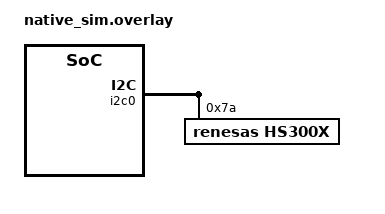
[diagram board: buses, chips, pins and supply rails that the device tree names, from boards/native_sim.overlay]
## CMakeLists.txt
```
# SPDX-License-Identifier: Apache-2.0

cmake_minimum_required(VERSION 3.20.0)

find_package(Zephyr REQUIRED HINTS $ENV{ZEPHYR_BASE})
project(weather_station)

FILE(GLOB app_sources src/*.c)
target_sources(app PRIVATE ${app_sources})
```

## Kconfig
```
# Copyright (c) 2026
# SPDX-License-Identifier: Apache-2.0

mainmenu "Advanced Weather Station"

config SAMPLE_WEATHER_SENSOR_PERIOD_MS
	int "Sensor poll period (ms)"
	default 2000
	range 200 60000
	help
	  Sensor polling period in milliseconds.

config SAMPLE_WEATHER_UI_REFRESH_MS
	int "UI refresh period (ms)"
	default 250
	range 50 2000
	help
	  How often the UI labels and layout are refreshed.

config SAMPLE_WEATHER_UI_LANDSCAPE_BREAKPOINT
	int "Landscape breakpoint (pixels)"
	default 360
	range 160 2048
	help
	  Minimum screen width used to switch from stacked portrait cards to
	  a two-column landscape layout.

config SAMPLE_WEATHER_USE_FAHRENHEIT
	bool "Display temperature in Fahrenheit"
	default n
	help
	  If enabled, the UI shows temperature in Fahrenheit.

config SAMPLE_WEATHER_ENABLE_BT
	bool "Enable Bluetooth CTS + ESS"
	default n
	depends on BT && BT_PERIPHERAL && BT_CTS
	help
	  Enable Bluetooth advertising with Current Time Service (CTS) and
	  Environmental Sensing Service (ESS) temperature/humidity characteristics.

config SAMPLE_WEATHER_BT_NOTIFY_PERIOD_MS
	int "Bluetooth notification period (ms)"
	default 5000
	range 500 60000
	depends on SAMPLE_WEATHER_ENABLE_BT
	help
	  Period for CTS and ESS notifications.

source "Kconfig.zephyr"
```

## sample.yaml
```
sample:
  name: Advanced Weather Station
  description: Multi-subsystem weather station with responsive LVGL UI and optional Bluetooth CTS+ESS
common:
  tags:
    - samples
    - display
    - gui
    - lvgl
    - sensors
    - rtc
  modules:
    - lvgl
tests:
  sample.advanced.weather_station:
    filter: dt_chosen_enabled("zephyr,display") and dt_alias_exists("dht0")
    harness: none
    build_only: true
    min_flash: 250
    min_ram: 32
    integration_platforms:
      - native_sim/native/64
```

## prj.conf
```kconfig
CONFIG_MAIN_STACK_SIZE=6144
CONFIG_LOG=y

CONFIG_DISPLAY=y
CONFIG_INPUT=y
CONFIG_LVGL=y
CONFIG_LV_Z_MEM_POOL_SIZE=32768

CONFIG_SENSOR=y
CONFIG_RTC=y

CONFIG_LV_USE_LABEL=y
CONFIG_LV_USE_FLEX=y
CONFIG_LV_FONT_MONTSERRAT_14=y
CONFIG_LV_FONT_MONTSERRAT_20=y
CONFIG_LV_FONT_MONTSERRAT_28=y
```

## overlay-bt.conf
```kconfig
CONFIG_BT=y
CONFIG_BT_PERIPHERAL=y
CONFIG_BT_SMP=y
CONFIG_BT_DEVICE_NAME="Weather Station"

CONFIG_BT_DIS=y
CONFIG_BT_DIS_PNP=n

CONFIG_BT_CTS=y
CONFIG_BT_CTS_HELPER_API=y

CONFIG_SAMPLE_WEATHER_ENABLE_BT=y
```

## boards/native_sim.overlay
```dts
/* SPDX-License-Identifier: Apache-2.0 */

/ {
	aliases {
		dht0 = &hs300x;
	};
};

&i2c0 {
	hs300x: hs300x@7a {
		compatible = "renesas,hs300x";
		reg = <0x7a>;
		status = "okay";
	};
};
```

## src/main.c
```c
/*
 * Copyright (c) 2026
 *
 * SPDX-License-Identifier: Apache-2.0
 */

#include "weather_internal.h"

#include <errno.h>

#include <zephyr/device.h>
#include <zephyr/devicetree.h>
#include <zephyr/drivers/display.h>
#include <zephyr/kernel.h>
#include <zephyr/logging/log.h>
#include <zephyr/sys/util.h>

LOG_MODULE_REGISTER(weather_main, CONFIG_LOG_DEFAULT_LEVEL);

#if defined(CONFIG_SAMPLE_WEATHER_BT_NOTIFY_PERIOD_MS)
#define WEATHER_BT_NOTIFY_PERIOD_MS CONFIG_SAMPLE_WEATHER_BT_NOTIFY_PERIOD_MS
#else
#define WEATHER_BT_NOTIFY_PERIOD_MS 5000
#endif

int main(void)
{
	const struct device *display_dev;
	struct weather_model model;
	struct weather_ui ui;
	int64_t next_sensor_update;
	int64_t next_ui_update;
	int64_t next_ble_notify;
	int err;

	display_dev = DEVICE_DT_GET(DT_CHOSEN(zephyr_display));
	if (!device_is_ready(display_dev)) {
		LOG_ERR("Display device not ready");
		return -ENODEV;
	}

	err = weather_model_init(&model);
	if (err != 0) {
		LOG_ERR("Model init failed: %d", err);
		return err;
	}

	err = weather_ui_init(&ui);
	if (err != 0) {
		LOG_ERR("UI init failed: %d", err);
		return err;
	}

	weather_ui_update(&ui, &model);

	err = display_blanking_off(display_dev);
	if (err < 0 && err != -ENOSYS) {
		LOG_ERR("Failed to disable display blanking: %d", err);
		return err;
	}

	if (IS_ENABLED(CONFIG_SAMPLE_WEATHER_ENABLE_BT)) {
		err = weather_ble_init(&model);
		if (err != 0) {
			LOG_WRN("Bluetooth init failed: %d", err);
		}
	}

	next_sensor_update = k_uptime_get();
	next_ui_update = next_sensor_update;
	next_ble_notify = next_sensor_update;

	while (1) {
		printk("main loop\n");
		int64_t now = k_uptime_get();
		int64_t next_deadline;
		uint32_t lvgl_wait;
		int64_t app_wait;
		uint32_t sleep_ms;

		if (now >= next_sensor_update) {
			(void)weather_model_update_sensor(&model);
			weather_model_update_time(&model);
			next_sensor_update = now + CONFIG_SAMPLE_WEATHER_SENSOR_PERIOD_MS;
		}

		if (now >= next_ui_update) {
			weather_model_update_time(&model);
			weather_ui_update(&ui, &model);
			next_ui_update = now + CONFIG_SAMPLE_WEATHER_UI_REFRESH_MS;
		}

		if (IS_ENABLED(CONFIG_SAMPLE_WEATHER_ENABLE_BT) && now >= next_ble_notify) {
			weather_ble_notify(&model);
			next_ble_notify = now + WEATHER_BT_NOTIFY_PERIOD_MS;
		}

		next_deadline = MIN(next_sensor_update, next_ui_update);
		if (IS_ENABLED(CONFIG_SAMPLE_WEATHER_ENABLE_BT)) {
			next_deadline = MIN(next_deadline, next_ble_notify);
		}

		lvgl_wait = lv_timer_handler();
		app_wait = next_deadline - k_uptime_get();
		if (app_wait < 1) {
			app_wait = 1;
		}

		sleep_ms = MIN((uint32_t)app_wait, MAX(lvgl_wait, 1U));
		k_msleep(sleep_ms);
	}
}
```

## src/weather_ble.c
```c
/*
 * Copyright (c) 2026
 *
 * SPDX-License-Identifier: Apache-2.0
 */

#include "weather_internal.h"

#include <errno.h>

#include <zephyr/kernel.h>

#if defined(CONFIG_SAMPLE_WEATHER_ENABLE_BT) && CONFIG_SAMPLE_WEATHER_ENABLE_BT

#include <zephyr/bluetooth/bluetooth.h>
#include <zephyr/bluetooth/conn.h>
#include <zephyr/bluetooth/gatt.h>
#include <zephyr/bluetooth/hci.h>
#include <zephyr/bluetooth/services/cts.h>
#include <zephyr/bluetooth/uuid.h>
#include <zephyr/sys/byteorder.h>
#include <zephyr/sys/util.h>

#include <zephyr/logging/log.h>
LOG_MODULE_REGISTER(weather_ble, CONFIG_LOG_DEFAULT_LEVEL);

enum weather_ble_state {
	WEATHER_BLE_STATE_READY,
	WEATHER_BLE_STATE_ADVERTISING,
	WEATHER_BLE_STATE_CONNECTED,
	WEATHER_BLE_STATE_ERROR,
};

static struct weather_model *model_ctx;
static enum weather_ble_state ble_state;
static bool cts_notifications_enabled;
static bool temp_notifications_enabled;
static bool humidity_notifications_enabled;

static int16_t encode_temperature_hundredths(const struct weather_model *model)
{
	int32_t value = model->temperature_milli_c / 10;

	value = CLAMP(value, (int32_t)INT16_MIN, (int32_t)INT16_MAX);
	return (int16_t)value;
}

static uint16_t encode_humidity_hundredths(const struct weather_model *model)
{
	int32_t value = model->humidity_milli_pct / 10;

	value = CLAMP(value, 0, 10000);
	return (uint16_t)value;
}

static ssize_t read_temperature(struct bt_conn *conn, const struct bt_gatt_attr *attr, void *buf,
				uint16_t len, uint16_t offset)
{
	int16_t value = sys_cpu_to_le16(encode_temperature_hundredths(model_ctx));

	ARG_UNUSED(attr);
	return bt_gatt_attr_read(conn, attr, buf, len, offset, &value, sizeof(value));
}

static ssize_t read_humidity(struct bt_conn *conn, const struct bt_gatt_attr *attr, void *buf,
			     uint16_t len, uint16_t offset)
{
	uint16_t value = sys_cpu_to_le16(encode_humidity_hundredths(model_ctx));

	ARG_UNUSED(attr);
	return bt_gatt_attr_read(conn, attr, buf, len, offset, &value, sizeof(value));
}

static void temp_ccc_changed(const struct bt_gatt_attr *attr, uint16_t value)
{
	ARG_UNUSED(attr);
	temp_notifications_enabled = (value == BT_GATT_CCC_NOTIFY);
}

static void humidity_ccc_changed(const struct bt_gatt_attr *attr, uint16_t value)
{
	ARG_UNUSED(attr);
	humidity_notifications_enabled = (value == BT_GATT_CCC_NOTIFY);
}

BT_GATT_SERVICE_DEFINE(weather_ess_svc,
	BT_GATT_PRIMARY_SERVICE(BT_UUID_ESS),
	BT_GATT_CHARACTERISTIC(BT_UUID_TEMPERATURE, BT_GATT_CHRC_READ | BT_GATT_CHRC_NOTIFY,
			       BT_GATT_PERM_READ, read_temperature, NULL, NULL),
	BT_GATT_CCC(temp_ccc_changed, BT_GATT_PERM_READ | BT_GATT_PERM_WRITE),
	BT_GATT_CHARACTERISTIC(BT_UUID_HUMIDITY, BT_GATT_CHRC_READ | BT_GATT_CHRC_NOTIFY,
			       BT_GATT_PERM_READ, read_humidity, NULL, NULL),
	BT_GATT_CCC(humidity_ccc_changed, BT_GATT_PERM_READ | BT_GATT_PERM_WRITE));

static void connected(struct bt_conn *conn, uint8_t err)
{
	ARG_UNUSED(conn);

	if (err != 0U) {
		LOG_WRN("Bluetooth connect failed (err 0x%02x)", err);
		ble_state = WEATHER_BLE_STATE_ERROR;
		return;
	}

	ble_state = WEATHER_BLE_STATE_CONNECTED;
}

static void disconnected(struct bt_conn *conn, uint8_t reason)
{
	ARG_UNUSED(conn);
	ARG_UNUSED(reason);

	ble_state = WEATHER_BLE_STATE_ADVERTISING;
}

BT_CONN_CB_DEFINE(weather_conn_callbacks) = {
	.connected = connected,
	.disconnected = disconnected,
};

static void cts_notification_changed(bool enabled)
{
	cts_notifications_enabled = enabled;
}

static int cts_time_write(struct bt_cts_time_format *cts_time)
{
	int64_t unix_ms;
	int err;

	err = bt_cts_time_to_unix_ms(cts_time, &unix_ms);
	if (err != 0) {
		return err;
	}

	weather_model_set_unix_reference(model_ctx, unix_ms);
	return 0;
}

static int cts_fill_current_time(struct bt_cts_time_format *cts_time)
{
	return bt_cts_time_from_unix_ms(cts_time, weather_model_current_unix_ms(model_ctx));
}

static const struct bt_cts_cb cts_cb = {
	.notification_changed = cts_notification_changed,
	.cts_time_write = cts_time_write,
	.fill_current_cts_time = cts_fill_current_time,
};

static const struct bt_data ad[] = {
	BT_DATA_BYTES(BT_DATA_FLAGS, (BT_LE_AD_GENERAL | BT_LE_AD_NO_BREDR)),
	BT_DATA_BYTES(BT_DATA_UUID16_ALL, BT_UUID_16_ENCODE(BT_UUID_CTS_VAL),
		      BT_UUID_16_ENCODE(BT_UUID_ESS_VAL)),
};

static const struct bt_data sd[] = {
	BT_DATA(BT_DATA_NAME_COMPLETE, CONFIG_BT_DEVICE_NAME, sizeof(CONFIG_BT_DEVICE_NAME) - 1),
};

int weather_ble_init(struct weather_model *model)
{
	int err;

	if (model == NULL) {
		return -EINVAL;
	}

	model_ctx = model;
	ble_state = WEATHER_BLE_STATE_READY;

	err = bt_enable(NULL);
	if (err != 0 && err != -EALREADY) {
		ble_state = WEATHER_BLE_STATE_ERROR;
		return err;
	}

	err = bt_cts_init(&cts_cb);
	if (err != 0) {
		ble_state = WEATHER_BLE_STATE_ERROR;
		return err;
	}

	err = bt_le_adv_start(BT_LE_ADV_CONN_FAST_1, ad, ARRAY_SIZE(ad), sd, ARRAY_SIZE(sd));
	if (err != 0) {
		ble_state = WEATHER_BLE_STATE_ERROR;
		return err;
	}

	ble_state = WEATHER_BLE_STATE_ADVERTISING;
	return 0;
}

void weather_ble_notify(const struct weather_model *model)
{
	int16_t temp = sys_cpu_to_le16(encode_temperature_hundredths(model));
	uint16_t humidity = sys_cpu_to_le16(encode_humidity_hundredths(model));

	if (ble_state == WEATHER_BLE_STATE_ERROR || model_ctx == NULL) {
		return;
	}

	if (temp_notifications_enabled) {
		(void)bt_gatt_notify(NULL, &weather_ess_svc.attrs[2], &temp, sizeof(temp));
	}

	if (humidity_notifications_enabled) {
		(void)bt_gatt_notify(NULL, &weather_ess_svc.attrs[5], &humidity, sizeof(humidity));
	}

	if (cts_notifications_enabled) {
		(void)bt_cts_send_notification(BT_CTS_UPDATE_REASON_MANUAL);
	}
}

const char *weather_ble_status_string(void)
{
	switch (ble_state) {
	case WEATHER_BLE_STATE_READY:
		return "ready";
	case WEATHER_BLE_STATE_ADVERTISING:
		return "advertising";
	case WEATHER_BLE_STATE_CONNECTED:
		return "connected";
	case WEATHER_BLE_STATE_ERROR:
	default:
		return "error";
	}
}

#else /* CONFIG_SAMPLE_WEATHER_ENABLE_BT */

int weather_ble_init(struct weather_model *model)
{
	ARG_UNUSED(model);
	return 0;
}

void weather_ble_notify(const struct weather_model *model)
{
	ARG_UNUSED(model);
}

const char *weather_ble_status_string(void)
{
	return "disabled";
}

#endif /* CONFIG_SAMPLE_WEATHER_ENABLE_BT */
```

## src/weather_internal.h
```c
/*
 * Copyright (c) 2026
 *
 * SPDX-License-Identifier: Apache-2.0
 */

#ifndef WEATHER_INTERNAL_H_
#define WEATHER_INTERNAL_H_

#include <stddef.h>
#include <stdbool.h>
#include <stdint.h>

#include <lvgl.h>
#include <zephyr/device.h>
#include <zephyr/drivers/rtc.h>

enum weather_clock_source {
	WEATHER_CLOCK_SOURCE_RTC,
	WEATHER_CLOCK_SOURCE_UPTIME,
};

struct weather_model {
	const struct device *sensor_dev;
	const struct device *rtc_dev;
	bool rtc_present;
	bool rtc_ready;

	bool measurements_valid;
	int last_sensor_error;
	int last_rtc_error;
	int32_t temperature_milli_c;
	int32_t humidity_milli_pct;
	int64_t last_sample_ms;

	enum weather_clock_source clock_source;
	struct rtc_time rtc_time;
	int64_t uptime_ms;
	int64_t current_unix_ms;
	int64_t unix_ms_ref;
};

struct weather_ui {
	lv_obj_t *screen;
	lv_obj_t *header_card;
	lv_obj_t *temp_card;
	lv_obj_t *humidity_card;
	lv_obj_t *status_card;

	lv_obj_t *title_label;
	lv_obj_t *time_label;
	lv_obj_t *clock_source_label;
	lv_obj_t *temp_value_label;
	lv_obj_t *humidity_value_label;
	lv_obj_t *status_label;

	int16_t last_width;
	int16_t last_height;
};

int weather_model_init(struct weather_model *model);
int weather_model_update_sensor(struct weather_model *model);
void weather_model_update_time(struct weather_model *model);
void weather_model_set_unix_reference(struct weather_model *model, int64_t unix_ms);
int64_t weather_model_current_unix_ms(const struct weather_model *model);
void weather_model_format_clock(const struct weather_model *model, char *buf, size_t len);
void weather_model_format_temperature(const struct weather_model *model, char *buf, size_t len);
void weather_model_format_humidity(const struct weather_model *model, char *buf, size_t len);
const char *weather_model_temperature_unit(void);
const char *weather_model_clock_source_text(const struct weather_model *model);

int weather_ui_init(struct weather_ui *ui);
void weather_ui_update(struct weather_ui *ui, const struct weather_model *model);

int weather_ble_init(struct weather_model *model);
void weather_ble_notify(const struct weather_model *model);
const char *weather_ble_status_string(void);

#endif /* WEATHER_INTERNAL_H_ */
```

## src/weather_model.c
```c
/*
 * Copyright (c) 2026
 *
 * SPDX-License-Identifier: Apache-2.0
 */

#include "weather_internal.h"

#include <errno.h>
#include <string.h>

#include <zephyr/devicetree.h>
#include <zephyr/drivers/sensor.h>
#include <zephyr/kernel.h>
#include <zephyr/sys/printk.h>
#include <zephyr/sys/timeutil.h>
#include <zephyr/sys/util.h>

#define DHT0_NODE DT_ALIAS(dht0)

#if !DT_NODE_EXISTS(DHT0_NODE)
#error "weather_station sample requires a dht0 devicetree alias"
#endif

static const struct device *const weather_sensor = DEVICE_DT_GET(DHT0_NODE);

#if DT_NODE_EXISTS(DT_ALIAS(rtc))
#define WEATHER_HAS_RTC_ALIAS 1
static const struct device *const weather_rtc = DEVICE_DT_GET(DT_ALIAS(rtc));
#else
#define WEATHER_HAS_RTC_ALIAS 0
#endif

static int32_t weather_sensor_value_to_milli(const struct sensor_value *value)
{
	int64_t milli = (int64_t)value->val1 * 1000;

	milli += value->val2 / 1000;

	return (int32_t)milli;
}

static void format_milli_one_decimal(int32_t milli, char *buf, size_t len)
{
	int32_t tenths = milli / 100;
	int32_t abs_tenths = tenths < 0 ? -tenths : tenths;

	snprintk(buf, len, "%s%d.%d", tenths < 0 ? "-" : "", abs_tenths / 10,
		 abs_tenths % 10);
}

int weather_model_init(struct weather_model *model)
{
	if (model == NULL) {
		return -EINVAL;
	}

	memset(model, 0, sizeof(*model));

	model->sensor_dev = weather_sensor;
	if (!device_is_ready(model->sensor_dev)) {
		model->last_sensor_error = -ENODEV;
		return -ENODEV;
	}

#if WEATHER_HAS_RTC_ALIAS
	model->rtc_present = true;
	model->rtc_dev = weather_rtc;
	model->rtc_ready = device_is_ready(model->rtc_dev);
#else
	model->rtc_present = false;
	model->rtc_dev = NULL;
	model->rtc_ready = false;
#endif

	model->clock_source = WEATHER_CLOCK_SOURCE_UPTIME;
	model->last_sensor_error = -EAGAIN;
	model->last_rtc_error = model->rtc_ready ? -EAGAIN : -ENODEV;
	model->unix_ms_ref = 0;
	model->current_unix_ms = k_uptime_get();

	weather_model_update_time(model);
	weather_model_update_sensor(model);

	return 0;
}

int weather_model_update_sensor(struct weather_model *model)
{
	struct sensor_value temp;
	struct sensor_value humidity;
	int err;

	err = sensor_sample_fetch(model->sensor_dev);
	if (err == 0) {
		err = sensor_channel_get(model->sensor_dev, SENSOR_CHAN_AMBIENT_TEMP, &temp);
	}
	if (err == 0) {
		err = sensor_channel_get(model->sensor_dev, SENSOR_CHAN_HUMIDITY, &humidity);
	}

	if (err != 0) {
		model->last_sensor_error = err;
		return err;
	}

	model->temperature_milli_c = weather_sensor_value_to_milli(&temp);
	model->humidity_milli_pct = weather_sensor_value_to_milli(&humidity);
	model->measurements_valid = true;
	model->last_sample_ms = k_uptime_get();
	model->last_sensor_error = 0;

	printk("weather_model_update_sensor: temp: %d\n", model->temperature_milli_c);
	printk("weather_model_update_sensor: humidity: %d\n", model->humidity_milli_pct);

	return 0;
}

void weather_model_update_time(struct weather_model *model)
{
	model->uptime_ms = k_uptime_get();

	if (model->rtc_present && model->rtc_ready) {
		struct rtc_time rtc_now;
		int err;

		err = rtc_get_time(model->rtc_dev, &rtc_now);
		if (err == 0) {
			int64_t unix_s = timeutil_timegm64(rtc_time_to_tm(&rtc_now));

			model->rtc_time = rtc_now;
			model->clock_source = WEATHER_CLOCK_SOURCE_RTC;
			model->last_rtc_error = 0;

			if (unix_s != -1) {
				model->current_unix_ms =
					unix_s * MSEC_PER_SEC + (rtc_now.tm_nsec / NSEC_PER_MSEC);
				model->unix_ms_ref = model->current_unix_ms - model->uptime_ms;
			} else {
				model->current_unix_ms = model->unix_ms_ref + model->uptime_ms;
			}
			return;
		}

		model->last_rtc_error = err;
	}

	model->clock_source = WEATHER_CLOCK_SOURCE_UPTIME;
	model->current_unix_ms = model->unix_ms_ref + model->uptime_ms;
}

void weather_model_set_unix_reference(struct weather_model *model, int64_t unix_ms)
{
	model->unix_ms_ref = unix_ms - k_uptime_get();
	model->current_unix_ms = unix_ms;
}

int64_t weather_model_current_unix_ms(const struct weather_model *model)
{
	return model->current_unix_ms;
}

void weather_model_format_clock(const struct weather_model *model, char *buf, size_t len)
{
	if (model->clock_source == WEATHER_CLOCK_SOURCE_RTC) {
		snprintk(buf, len, "%04d-%02d-%02d %02d:%02d:%02d", model->rtc_time.tm_year + 1900,
			 model->rtc_time.tm_mon + 1, model->rtc_time.tm_mday, model->rtc_time.tm_hour,
			 model->rtc_time.tm_min, model->rtc_time.tm_sec);
		return;
	}

	uint64_t total_sec = model->uptime_ms / MSEC_PER_SEC;
	uint64_t hours = total_sec / 3600U;
	uint64_t minutes = (total_sec % 3600U) / 60U;
	uint64_t seconds = total_sec % 60U;

	snprintk(buf, len, "uptime %02llu:%02llu:%02llu", (unsigned long long)hours,
		 (unsigned long long)minutes, (unsigned long long)seconds);
}

void weather_model_format_temperature(const struct weather_model *model, char *buf, size_t len)
{
	int32_t milli;

	if (!model->measurements_valid) {
		snprintk(buf, len, "--.-");
		return;
	}

	milli = model->temperature_milli_c;
	if (IS_ENABLED(CONFIG_SAMPLE_WEATHER_USE_FAHRENHEIT)) {
		milli = (milli * 9) / 5 + 32000;
	}

	format_milli_one_decimal(milli, buf, len);
}

void weather_model_format_humidity(const struct weather_model *model, char *buf, size_t len)
{
	if (!model->measurements_valid) {
		snprintk(buf, len, "--.-");
		return;
	}

	format_milli_one_decimal(model->humidity_milli_pct, buf, len);
}

const char *weather_model_temperature_unit(void)
{
	return IS_ENABLED(CONFIG_SAMPLE_WEATHER_USE_FAHRENHEIT) ? "F" : "C";
}

const char *weather_model_clock_source_text(const struct weather_model *model)
{
	return model->clock_source == WEATHER_CLOCK_SOURCE_RTC ? "RTC" : "Uptime";
}
```

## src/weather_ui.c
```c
/*
 * Copyright (c) 2026
 *
 * SPDX-License-Identifier: Apache-2.0
 */

#include "weather_internal.h"

#include <errno.h>
#include <string.h>

#include <zephyr/logging/log.h>
#include <zephyr/sys/printk.h>

LOG_MODULE_REGISTER(weather_ui, CONFIG_LOG_DEFAULT_LEVEL);

static void style_card(lv_obj_t *card, lv_color_t bg_color)
{
	lv_obj_set_style_bg_color(card, bg_color, LV_PART_MAIN);
	lv_obj_set_style_bg_opa(card, LV_OPA_90, LV_PART_MAIN);
	lv_obj_set_style_border_width(card, 1, LV_PART_MAIN);
#if CONFIG_LV_COLOR_DEPTH_1 == 1
	lv_obj_set_style_border_color(card, lv_color_hex(0x000000), LV_PART_MAIN);
#else
	lv_obj_set_style_border_color(card, lv_color_hex(0x3d5a80), LV_PART_MAIN);
#endif
	lv_obj_set_style_radius(card, 14, LV_PART_MAIN);
	lv_obj_set_style_pad_all(card, 10, LV_PART_MAIN);
}

static void weather_ui_apply_layout(struct weather_ui *ui, int16_t width, int16_t height)
{
	const int16_t margin = 8;
	const int16_t gap = 8;
	bool landscape = width >= CONFIG_SAMPLE_WEATHER_UI_LANDSCAPE_BREAKPOINT;

	int16_t header_h = (height * 28) / 100;
	if (header_h < 64) {
		header_h = 64;
	}

	if (landscape) {
		int16_t metrics_h = (height * 34) / 100;
		int16_t status_h;
		int16_t card_w;

		if (metrics_h < 68) {
			metrics_h = 68;
		}

		status_h = height - (margin * 2) - header_h - metrics_h - (gap * 2);
		if (status_h < 56) {
			status_h = 56;
		}

		card_w = (width - (margin * 2) - gap) / 2;

		lv_obj_set_pos(ui->header_card, margin, margin);
		lv_obj_set_size(ui->header_card, width - (margin * 2), header_h);

		lv_obj_set_pos(ui->temp_card, margin, margin + header_h + gap);
		lv_obj_set_size(ui->temp_card, card_w, metrics_h);

		lv_obj_set_pos(ui->humidity_card, margin + card_w + gap, margin + header_h + gap);
		lv_obj_set_size(ui->humidity_card, card_w, metrics_h);

		lv_obj_set_pos(ui->status_card, margin, margin + header_h + gap + metrics_h + gap);
		lv_obj_set_size(ui->status_card, width - (margin * 2), status_h);
	} else {
		int16_t available = height - (margin * 2) - header_h - (gap * 3);
		int16_t card_h = available / 3;

		if (card_h < 56) {
			card_h = 56;
		}

		lv_obj_set_pos(ui->header_card, margin, margin);
		lv_obj_set_size(ui->header_card, width - (margin * 2), header_h);

		lv_obj_set_pos(ui->temp_card, margin, margin + header_h + gap);
		lv_obj_set_size(ui->temp_card, width - (margin * 2), card_h);

		lv_obj_set_pos(ui->humidity_card, margin, margin + header_h + gap + card_h + gap);
		lv_obj_set_size(ui->humidity_card, width - (margin * 2), card_h);

		lv_obj_set_pos(ui->status_card, margin,
			       margin + header_h + gap + card_h + gap + card_h + gap);
		lv_obj_set_size(ui->status_card, width - (margin * 2), card_h);
	}

	lv_obj_align(ui->title_label, LV_ALIGN_TOP_LEFT, 0, 0);
	lv_obj_align(ui->clock_source_label, LV_ALIGN_TOP_RIGHT, 0, 0);
	lv_obj_align(ui->time_label, LV_ALIGN_BOTTOM_LEFT, 0, 0);
	lv_obj_set_width(ui->status_label, lv_obj_get_width(ui->status_card) - 8);
}

int weather_ui_init(struct weather_ui *ui)
{
	lv_obj_t *label;

	if (ui == NULL) {
		return -EINVAL;
	}

	memset(ui, 0, sizeof(*ui));
	ui->screen = lv_screen_active();
	if (ui->screen == NULL) {
		return -ENODEV;
	}

#if CONFIG_LV_COLOR_DEPTH_1 == 1
	/* Monochrome: light background, dark text for visibility */
	lv_obj_set_style_bg_color(ui->screen, lv_color_hex(0xFFFFFF), LV_PART_MAIN);
	lv_obj_set_style_bg_grad_color(ui->screen, lv_color_hex(0xFFFFFF), LV_PART_MAIN);
	lv_obj_set_style_bg_grad_dir(ui->screen, LV_GRAD_DIR_VER, LV_PART_MAIN);
#else
	lv_obj_set_style_bg_color(ui->screen, lv_color_hex(0x0d1b2a), LV_PART_MAIN);
	lv_obj_set_style_bg_grad_color(ui->screen, lv_color_hex(0x1b263b), LV_PART_MAIN);
	lv_obj_set_style_bg_grad_dir(ui->screen, LV_GRAD_DIR_VER, LV_PART_MAIN);
#endif

	ui->header_card = lv_obj_create(ui->screen);
	ui->temp_card = lv_obj_create(ui->screen);
	ui->humidity_card = lv_obj_create(ui->screen);
	ui->status_card = lv_obj_create(ui->screen);

#if CONFIG_LV_COLOR_DEPTH_1 == 1
	style_card(ui->header_card, lv_color_hex(0xFFFFFF));
	style_card(ui->temp_card, lv_color_hex(0xF5F5F5));
	style_card(ui->humidity_card, lv_color_hex(0xF5F5F5));
	style_card(ui->status_card, lv_color_hex(0xF5F5F5));
#else
	style_card(ui->header_card, lv_color_hex(0x243b55));
	style_card(ui->temp_card, lv_color_hex(0x2a4d69));
	style_card(ui->humidity_card, lv_color_hex(0x1f6f8b));
	style_card(ui->status_card, lv_color_hex(0x324a5f));
#endif

	lv_obj_set_flex_flow(ui->temp_card, LV_FLEX_FLOW_COLUMN);
	lv_obj_set_flex_align(ui->temp_card, LV_FLEX_ALIGN_SPACE_EVENLY, LV_FLEX_ALIGN_CENTER,
			      LV_FLEX_ALIGN_CENTER);
	lv_obj_set_flex_flow(ui->humidity_card, LV_FLEX_FLOW_COLUMN);
	lv_obj_set_flex_align(ui->humidity_card, LV_FLEX_ALIGN_SPACE_EVENLY, LV_FLEX_ALIGN_CENTER,
			      LV_FLEX_ALIGN_CENTER);
	lv_obj_set_flex_flow(ui->status_card, LV_FLEX_FLOW_COLUMN);
	lv_obj_set_flex_align(ui->status_card, LV_FLEX_ALIGN_START, LV_FLEX_ALIGN_START,
			      LV_FLEX_ALIGN_START);

	ui->title_label = lv_label_create(ui->header_card);
	lv_label_set_text(ui->title_label, "Weather Station");
	lv_obj_set_style_text_font(ui->title_label, &lv_font_montserrat_20, LV_PART_MAIN);
#if CONFIG_LV_COLOR_DEPTH_1 == 1
	lv_obj_set_style_text_color(ui->title_label, lv_color_hex(0x000000), LV_PART_MAIN);
#endif

	ui->clock_source_label = lv_label_create(ui->header_card);
	lv_label_set_text(ui->clock_source_label, "Clock: --");
#if CONFIG_LV_COLOR_DEPTH_1 == 1
	lv_obj_set_style_text_color(ui->clock_source_label, lv_color_hex(0x000000), LV_PART_MAIN);
#endif

	ui->time_label = lv_label_create(ui->header_card);
	lv_label_set_text(ui->time_label, "time pending");
	lv_obj_set_style_text_font(ui->time_label, &lv_font_montserrat_20, LV_PART_MAIN);
#if CONFIG_LV_COLOR_DEPTH_1 == 1
	lv_obj_set_style_text_color(ui->time_label, lv_color_hex(0x000000), LV_PART_MAIN);
#endif

	label = lv_label_create(ui->temp_card);
	lv_label_set_text(label, "Temperature");
#if CONFIG_LV_COLOR_DEPTH_1 == 1
	lv_obj_set_style_text_color(label, lv_color_hex(0x000000), LV_PART_MAIN);
#endif
	ui->temp_value_label = lv_label_create(ui->temp_card);
	lv_label_set_text(ui->temp_value_label, "--.- C");
	lv_obj_set_style_text_font(ui->temp_value_label, &lv_font_montserrat_28, LV_PART_MAIN);
#if CONFIG_LV_COLOR_DEPTH_1 == 1
	lv_obj_set_style_text_color(ui->temp_value_label, lv_color_hex(0x000000), LV_PART_MAIN);
#endif

	label = lv_label_create(ui->humidity_card);
	lv_label_set_text(label, "Humidity");
#if CONFIG_LV_COLOR_DEPTH_1 == 1
	lv_obj_set_style_text_color(label, lv_color_hex(0x000000), LV_PART_MAIN);
#endif
	ui->humidity_value_label = lv_label_create(ui->humidity_card);
	lv_label_set_text(ui->humidity_value_label, "--.- %RH");
	lv_obj_set_style_text_font(ui->humidity_value_label, &lv_font_montserrat_28, LV_PART_MAIN);
#if CONFIG_LV_COLOR_DEPTH_1 == 1
	lv_obj_set_style_text_color(ui->humidity_value_label, lv_color_hex(0x000000), LV_PART_MAIN);
#endif

	ui->status_label = lv_label_create(ui->status_card);
	lv_label_set_long_mode(ui->status_label, LV_LABEL_LONG_WRAP);
	lv_label_set_text(ui->status_label, "Status pending");
#if CONFIG_LV_COLOR_DEPTH_1 == 1
	lv_obj_set_style_text_color(ui->status_label, lv_color_hex(0x000000), LV_PART_MAIN);
#endif

	ui->last_width = -1;
	ui->last_height = -1;

	return 0;
}

void weather_ui_update(struct weather_ui *ui, const struct weather_model *model)
{
	char time_buf[48];
	char temp_buf[24];
	char humidity_buf[24];
	char status_buf[196];
	int16_t width;
	int16_t height;

	width = lv_obj_get_width(ui->screen);
	height = lv_obj_get_height(ui->screen);

	if (width != ui->last_width || height != ui->last_height) {
		weather_ui_apply_layout(ui, width, height);
		ui->last_width = width;
		ui->last_height = height;
	}

	weather_model_format_clock(model, time_buf, sizeof(time_buf));
	lv_label_set_text(ui->time_label, time_buf);

	snprintk(temp_buf, sizeof(temp_buf), "Clock: %s", weather_model_clock_source_text(model));
	lv_label_set_text(ui->clock_source_label, temp_buf);

	weather_model_format_temperature(model, temp_buf, sizeof(temp_buf));
	snprintk(humidity_buf, sizeof(humidity_buf), "%s %s", temp_buf,
		 weather_model_temperature_unit());
	lv_label_set_text(ui->temp_value_label, humidity_buf);

	weather_model_format_humidity(model, humidity_buf, sizeof(humidity_buf));
	snprintk(temp_buf, sizeof(temp_buf), "%s %%RH", humidity_buf);
	lv_label_set_text(ui->humidity_value_label, temp_buf);

	snprintk(status_buf, sizeof(status_buf),
		 "Sensor: %s (err %d)\nLast sample: %lld ms\nBLE: %s",
		 model->measurements_valid ? "ok" : "waiting", model->last_sensor_error,
		 (long long)model->last_sample_ms, weather_ble_status_string());
	lv_label_set_text(ui->status_label, status_buf);
}
```
